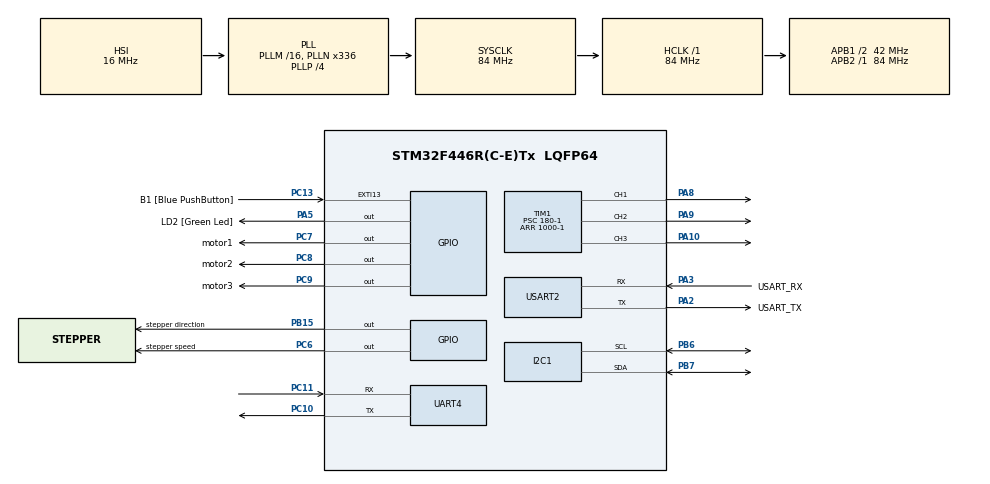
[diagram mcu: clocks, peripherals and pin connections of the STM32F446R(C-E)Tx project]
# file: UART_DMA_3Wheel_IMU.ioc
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Dma.Request0=UART4_RX
Dma.UART4_RX.0.Direction=DMA_PERIPH_TO_MEMORY
Dma.UART4_RX.0.FIFOMode=DMA_FIFOMODE_DISABLE
Dma.UART4_RX.0.Instance=DMA1_Stream2
Dma.UART4_RX.0.MemDataAlignment=DMA_MDATAALIGN_BYTE
Dma.UART4_RX.0.MemInc=DMA_MINC_ENABLE
Dma.UART4_RX.0.Mode=DMA_CIRCULAR
Dma.UART4_RX.0.PeriphDataAlignment=DMA_PDATAALIGN_BYTE
Dma.UART4_RX.0.PeriphInc=DMA_PINC_DISABLE
Dma.UART4_RX.0.Priority=DMA_PRIORITY_LOW
I2C1.I2C_Mode=I2C_Fast
Mcu.Family=STM32F4
Mcu.Name=STM32F446R(C-E)Tx
Mcu.Package=LQFP64
NVIC.DMA1_Stream2_IRQn=true\:0\:0\:false\:false\:true\:false\:true\:true
NVIC.PriorityGroup=NVIC_PRIORITYGROUP_0
NVIC.UART4_IRQn=true\:0\:0\:false\:false\:true\:true\:true\:true
PA10.Signal=S_TIM1_CH3
PA13.GPIO_Label=TMS
PA13.Mode=Serial_Wire
PA13.Signal=SYS_JTMS-SWDIO
PA14.GPIO_Label=TCK
PA14.Mode=Serial_Wire
PA14.Signal=SYS_JTCK-SWCLK
PA2.GPIO_Label=USART_TX
PA2.Mode=Asynchronous
PA2.Signal=USART2_TX
PA3.GPIO_Label=USART_RX
PA3.Mode=Asynchronous
PA3.Signal=USART2_RX
PA5.GPIO_Label=LD2 [Green Led]
PA5.Signal=GPIO_Output
PA8.Signal=S_TIM1_CH1
PA9.Signal=S_TIM1_CH2
PB15.GPIO_Label=stepper direction
PB15.Signal=GPIO_Output
PB6.Mode=I2C
PB6.Signal=I2C1_SCL
PB7.Mode=I2C
PB7.Signal=I2C1_SDA
PC10.Mode=Asynchronous
PC10.Signal=UART4_TX
PC11.Mode=Asynchronous
PC11.Signal=UART4_RX
PC13.GPIO_Label=B1 [Blue PushButton]
PC13.GPIO_ModeDefaultEXTI=GPIO_MODE_IT_FALLING
PC13.Signal=GPXTI13
PC14-OSC32_IN.Mode=LSE-External-Oscillator
PC14-OSC32_IN.Signal=RCC_OSC32_IN
PC15-OSC32_OUT.Mode=LSE-External-Oscillator
PC15-OSC32_OUT.Signal=RCC_OSC32_OUT
PC6.GPIO_Label=stepper speed
PC6.Signal=GPIO_Output
PC7.GPIO_Label=motor1
PC7.Signal=GPIO_Output
PC8.GPIO_Label=motor2
PC8.Signal=GPIO_Output
PC9.GPIO_Label=motor3
PC9.Signal=GPIO_Output
PH0-OSC_IN.Mode=HSE-External-Oscillator
PH0-OSC_IN.Signal=RCC_OSC_IN
PH1-OSC_OUT.Mode=HSE-External-Oscillator
PH1-OSC_OUT.Signal=RCC_OSC_OUT
ProjectManager.HeapSize=0x200
ProjectManager.StackSize=0x400
ProjectManager.TargetToolchain=STM32CubeIDE
RCC.48MHZClocksFreq_Value=84000000
RCC.AHBFreq_Value=84000000
RCC.APB1CLKDivider=RCC_HCLK_DIV2
RCC.APB1Freq_Value=42000000
RCC.APB1TimFreq_Value=84000000
RCC.APB2Freq_Value=84000000
RCC.APB2TimFreq_Value=84000000
RCC.CortexFreq_Value=84000000
RCC.FLatency-AdvancedSettings=FLASH_LATENCY_2
RCC.HCLKFreq_Value=84000000
RCC.HSE_VALUE=8000000
RCC.HSI_VALUE=16000000
RCC.PLLN=336
RCC.PLLP=RCC_PLLP_DIV4
RCC.SYSCLKFreq_VALUE=84000000
RCC.SYSCLKSource=RCC_SYSCLKSOURCE_PLLCLK
RCC.USBFreq_Value=168000000
RCC.VCOOutputFreq_Value=336000000
SH.S_TIM1_CH1.0=TIM1_CH1,PWM Generation1 CH1
SH.S_TIM1_CH2.0=TIM1_CH2,PWM Generation2 CH2
SH.S_TIM1_CH3.0=TIM1_CH3,PWM Generation3 CH3
TIM1.Channel-PWM\ Generation1\ CH1=TIM_CHANNEL_1
TIM1.Channel-PWM\ Generation2\ CH2=TIM_CHANNEL_2
TIM1.Channel-PWM\ Generation3\ CH3=TIM_CHANNEL_3
TIM1.Period=1000-1
TIM1.Prescaler=180-1
TIM8.Channel-PWM\ Generation1\ CH1=TIM_CHANNEL_1
TIM8.Period=1000-1
TIM8.Prescaler=180-1
UART4.VirtualMode=Asynchronous
USART2.VirtualMode=VM_ASYNC
VP_TIM1_VS_ClockSourceINT.Mode=Internal
VP_TIM8_VS_ClockSourceINT.Mode=Internal
board=NUCLEO-F446RE

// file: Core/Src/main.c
/* USER CODE BEGIN Header */
/**
  ******************************************************************************
  * @file           : main.c
  * @brief          : Main program body
  ******************************************************************************
  * @attention
  *
  * Copyright (c) 2025 STMicroelectronics.
  * All rights reserved.
  *
  * This software is licensed under terms that can be found in the LICENSE file
  * in the root directory of this software component.
  * If no LICENSE file comes with this software, it is provided AS-IS.
  *
  ******************************************************************************
  */
/* USER CODE END Header */
#include "main.h"

/* USER CODE BEGIN Includes */
#include "BNO055.h"
#include "stdio.h"
#include<stdio.h>
#include<inttypes.h>
#include<Math.h>
#include <stdbool.h>
#include <stdlib.h>

#include "math.h"
#define pi 3.1415926535
/* USER CODE END Includes */

I2C_HandleTypeDef hi2c1;

TIM_HandleTypeDef htim1;
TIM_HandleTypeDef htim8;

UART_HandleTypeDef huart4;
UART_HandleTypeDef huart2;
DMA_HandleTypeDef hdma_uart4_rx;

/* USER CODE BEGIN PV */
static uint32_t last_step_time1 = 0;
static int step_state1 = 0;
static int direction1 = 1;
int step_delay = 5;
int step_delay1 = 1;
static int stepper_running1 = 0;  // Toggle flag
static int prev_squ = 0;
static int prev_ll1 = 0;
static int prev_rr1 = 0;
BNO055_Data_t imu_data;

float yaw,q0,q1,q2,q3;
/* USER CODE END PV */

void SystemClock_Config(void);
static void MX_GPIO_Init(void);
static void MX_DMA_Init(void);
static void MX_USART2_UART_Init(void);
static void MX_UART4_Init(void);
static void MX_TIM1_Init(void);
static void MX_TIM8_Init(void);
static void MX_I2C1_Init(void);

/* USER CODE BEGIN 0 */
uint8_t rxbuff[16];
int slow = 75;
int fast = 400;
int Buff1 = 60;
int Buff2 = -60;
int BuffP = 80;
int BuffN = -80;
int target_wf, target_wrr, target_wrl, w;
int32_t lx, ly, rx, ry, cro, squ, tri, cir, up, down, left, right, ll1, rr1,
		ll2, rr2, rL, rR;
int deadzone = 50;
int l0 = 310;

void HAL_UART_RxCpltCallback(UART_HandleTypeDef *huart) {
	HAL_UART_Receive_DMA(&huart4, rxbuff, 16);
}
int constrain(int value, int min_val, int max_val) {
	if (value < min_val)
		return min_val;
	if (value > max_val)
		return max_val;
	return value;
}
void compute3wheel() {
	// Calculate joystick-based velocities
	const double theta = -30 * pi / 180;
	double lx_rotated = lx * cos(theta) - ly * sin(theta);
	double ly_rotated = lx * sin(theta) + ly * cos(theta);
	double vx = ly_rotated;
	double vy = lx_rotated;
	w = rx;
	target_wf = ((-0.5 * vx) + (sqrt(3) / 2) * vy + l0 * w);
	target_wrr = ((-0.5 * vx) - (sqrt(3) / 2) * vy + l0 * w);
	target_wrl = (vx + l0 * w);

	// Constrain target wheel speeds
	target_wf = constrain(target_wf, -800, 800);
	target_wrr = constrain(target_wrr, -800, 800);
	target_wrl = constrain(target_wrl, -800, 800);
}
void Channel_A_Config(void)
{
  uint32_t *pAHB1ClkCtrlReg =   (uint32_t*)0x40023830; // address of AHB1 clock control register
  uint32_t *pAFRLPortAReg   =   (uint32_t*)0x40020024; // address of alternate function register of port A
  uint32_t *pPortAModeReg   =   (uint32_t*)0x40020000; // address of port A mode register
  uint32_t *pPortAPullUpReg =   (uint32_t*)0x4002000C; // address of port A pull up register

  *pAHB1ClkCtrlReg |= 0x1;        // port A clock enable
  *pAFRLPortAReg   |= 0x00010000; // alternate function of Timer 2 Channel 1 enabled
  *pPortAModeReg   &= 0x3FFFFFFF;
  *pPortAModeReg   |= 0x80000000; // port A Pin 15 configured for 'Alternate function'
  *pPortAPullUpReg |= 0x40000000;    // port A Pin 15 pulled up
}

void Channel_B_Config(void)
{
  uint32_t *pAHB1ClkCtrlReg =   (uint32_t*)0x40023830; // address of AHB1 clock control register
  uint32_t *pAFRLPortBReg   =   (uint32_t*)0x40020420; // address of alternate function register of port B
  uint32_t *pPortBModeReg   =   (uint32_t*)0x40020400; // address of port B mode register
  uint32_t *pPortBPullUpReg =   (uint32_t*)0x4002040C; // address of port B pull up register

  *pAHB1ClkCtrlReg |= 0x2;        // port B clock enable
  *pAFRLPortBReg   |= 0x00100000; // alternate function of Timer 2 Channel 2 enabled
  *pPortBModeReg   &= 0xFFFFFF3F;
  *pPortBModeReg   |= 0x00000080; // port B Pin 3 configured for 'Alternate function'
  *pPortBPullUpReg |= 0x0040;     // port B Pin 3 pulled up
}

void Encoder_Init(uint16_t ARR_Value)
{
	 uint32_t *pAPB1ClkCtrlReg =   (uint32_t*)0x40023840; // address of APB2 clock control register
	 uint32_t *pTimer2ArrReg   =   (uint32_t*)0x4000002C; // address of timer 2 auto reload register
	 uint32_t *pTimer2CCMR1Reg =   (uint32_t*)0x40000018; // address of timer 2 capture/compare register
	 uint32_t *pTimer2CcerReg  =   (uint32_t*)0x40000020; // address of timer 2 capture/compare enable register
     uint32_t *pTimer2SmcrReg  =   (uint32_t*)0x40000008; // address of timer 2 slave mode control register
     uint32_t *pTimer2CR1Reg   =   (uint32_t*)0x40000000; // address of timer 2 control register 1

    *pAPB1ClkCtrlReg |= 0x1;           //timer 2 clock enable
    *pTimer2ArrReg   =  ARR_Value - 1; // maximum count value for counter
    *pTimer2CCMR1Reg |= 0x1;   // mapping 'Input capture 1' mode in timer 2 Channel 1 and configuring it as input
    *pTimer2CCMR1Reg |= 0x100; // mapping 'Input capture 2' mode in timer 2 Channel 2 and configuring it as input
    *pTimer2CcerReg  |= 0x2;   // channel 1 triggered at rising edge
    *pTimer2CcerReg  |= 0x20;  // channel 2 triggered at rising edge
    *pTimer2SmcrReg  |= 0x3;   // counter counts up/down on both channel 1 and channel 2 edges depending on the level of the other input.
    *pTimer2CR1Reg   |= 0x1;   // counter enable
}
uint16_t Get_Encoder_Counts()
{
	 uint32_t *pTimer2CNTReg   =   (uint32_t*)0x40000024; // address of timer 2 counter register
	 return *pTimer2CNTReg; // reading counts from counter register

}
/* USER CODE END 0 */

int main(void)
{

  /* USER CODE BEGIN 1 */
	HAL_UART_Receive_DMA(&huart4, rxbuff, 16);
	Encoder_Init(65535);
  /* USER CODE END 1 */

  /* MCU Configuration--------------------------------------------------------*/

  /* Reset of all peripherals, Initializes the Flash interface and the Systick. */
  HAL_Init();

  /* Configure the system clock */
  SystemClock_Config();

  /* Initialize all configured peripherals */
  MX_GPIO_Init();
  MX_DMA_Init();
  MX_USART2_UART_Init();
  MX_UART4_Init();
  MX_TIM1_Init();
  MX_TIM8_Init();
  MX_I2C1_Init();
  /* USER CODE BEGIN 2 */
  HAL_UART_Receive_DMA(&huart4, rxbuff, 16);
  /* USER CODE END 2 */

  /* Infinite loop */
  while (1)
  {

    /* USER CODE BEGIN 3 */
  lx = (rxbuff[0] & 0x80) ?
  				(int32_t) rxbuff[0] - 256 : (int32_t) rxbuff[0];
  		ly = (rxbuff[1] & 0x80) ?
  				(int32_t) rxbuff[1] - 256 : (int32_t) rxbuff[1];
  		rx = (rxbuff[2] & 0x80) ?
  				(int32_t) rxbuff[2] - 256 : (int32_t) rxbuff[2];
  		ry = (rxbuff[3] & 0x80) ?
  				(int32_t) rxbuff[3] - 256 : (int32_t) rxbuff[3];
  		cro = (rxbuff[4] & 0x80) ?
  				(int32_t) rxbuff[4] - 256 : (int32_t) rxbuff[4];
  		squ = (rxbuff[5] & 0x80) ?
  				(int32_t) rxbuff[5] - 256 : (int32_t) rxbuff[5];
  		tri = (rxbuff[6] & 0x80) ?
  				(int32_t) rxbuff[6] - 256 : (int32_t) rxbuff[6];
  		cir = (rxbuff[7] & 0x80) ?
  				(int32_t) rxbuff[7] - 256 : (int32_t) rxbuff[7];
  		up = (rxbuff[8] & 0x80) ?
  				(int32_t) rxbuff[8] - 256 : (int32_t) rxbuff[8];
  		down = (rxbuff[9] & 0x80) ?
  				(int32_t) rxbuff[9] - 256 : (int32_t) rxbuff[9];
  		left = (rxbuff[10] & 0x80) ?
  				(int32_t) rxbuff[10] - 256 : (int32_t) rxbuff[10];
  		right = (rxbuff[11] & 0x80) ?
  				(int32_t) rxbuff[11] - 256 : (int32_t) rxbuff[11];
  		ll1 = (rxbuff[12] & 0x80) ?
  				(int32_t) rxbuff[12] - 256 : (int32_t) rxbuff[12];
  		ll2 = (rxbuff[13] & 0x80) ?
  				(int32_t) rxbuff[13] - 256 : (int32_t) rxbuff[13];
  		rr1 = (rxbuff[14] & 0x80) ?
  				(int32_t) rxbuff[14] - 256 : (int32_t) rxbuff[14];
  		rr2 = (rxbuff[15] & 0x80) ?
  				(int32_t) rxbuff[15] - 256 : (int32_t) rxbuff[15];
  //			  	  	  	  	  	  	  lx = (rxbuff[1] & 0x80) ? (int32_t)rxbuff[1] - 256 : (int32_t)rxbuff[1];
  //			  		  	  	 	 	   ly = (rxbuff[2] & 0x80) ? (int32_t)rxbuff[2] - 256 : (int32_t)rxbuff[2];
  //			  		  	  	 	 	   rx = (rxbuff[3] & 0x80) ? (int32_t)rxbuff[3] - 256 : (int32_t)rxbuff[3];
  //			  		  	  	 	 	   ry = (rxbuff[4] & 0x80) ? (int32_t)rxbuff[4] - 256 : (int32_t)rxbuff[4];
  //			  		  	  	 	 	   cro= (rxbuff[5] & 0x80) ? (int32_t)rxbuff[5] - 256 : (int32_t)rxbuff[5];
  //			  		  	  	 	 	   squ= (rxbuff[6] & 0x80) ? (int32_t)rxbuff[6] - 256 : (int32_t)rxbuff[6];
  //			  		  	  	 	 	   tri= (rxbuff[7] & 0x80) ? (int32_t)rxbuff[7] - 256 : (int32_t)rxbuff[7];
  //			  		  	  	 	 	   cir= (rxbuff[8] & 0x80) ? (int32_t)rxbuff[8] - 256 : (int32_t)rxbuff[8];
  //			  		  	  	 	 	   up= (rxbuff[8] & 0x80) ? (int32_t)rxbuff[9] - 256 : (int32_t)rxbuff[9];
  //			  		  	  	 	 	   down= (rxbuff[10] & 0x80) ? (int32_t)rxbuff[10] - 256 : (int32_t)rxbuff[10];
  //			  		  	  	 	 	   left= (rxbuff[11] & 0x80) ? (int32_t)rxbuff[11] - 256 : (int32_t)rxbuff[11];
  //			  		  	  	 	 	   right=(rxbuff[12] & 0x80) ? (int32_t)rxbuff[12] - 256 : (int32_t)rxbuff[12];
  //			  		  	  	 	 	   ll1= (rxbuff[13] & 0x80) ? (int32_t)rxbuff[13] - 256 : (int32_t)rxbuff[13];
  //			  		  	  	 	 	   ll2= (rxbuff[14] & 0x80) ? (int32_t)rxbuff[14] - 256 : (int32_t)rxbuff[14];
  //			  		  	  	 	 	   rr1= (rxbuff[15] & 0x80) ? (int32_t)rxbuff[15] - 256 : (int32_t)rxbuff[15];
  //			  		  	  	 	 	   rr2= (rxbuff[16] & 0x80) ? (int32_t)rxbuff[16] - 256 : (int32_t)rxbuff[16];
  		if (abs(lx) < deadzone)
  			lx = 0;
  		if (abs(ly) < deadzone)
  			ly = 0;
  		if (abs(rx) < deadzone)
  			rx = 0;
  		else
  			rx = (rx > 0) ? rx - deadzone : rx + deadzone;
  		if (abs(ry) < deadzone)
  			ry = 0;
  		lx = (lx * 950) / 127;  // Assuming joystick range is -127 to +127
  		ly = (ly * 950) / 127;
  		rx = (rx * 950) / 127;
  		rL = sqrt(lx * lx + ly * ly);
  		rR = sqrt(rx * rx + ry * ry);
  				printf("Received Integers: %ld %ld %ld %ld %ld %ld %ld %ld %ld %ld\r\n",
  						lx, ly, rx, ry, cro, squ, tri, cir, ll1, rr1);
  				  printf("Received Integers: %ld %ld %ld %ld %ld %ld %ld %ld\r\n", lx, ly, rx, ry, cro, squ, tri, cir);
  		uint16_t counter = Get_Encoder_Counts();
  		printf("Encoder 1 : %u\r\n",counter);
  		compute3wheel();
  		if (target_wf >= 0) {
  			TIM1->CCR1 = target_wf;
  			HAL_TIM_PWM_Start(&htim1, TIM_CHANNEL_1);
  			HAL_GPIO_WritePin(GPIOC, GPIO_PIN_7, 0);
  		} else {
  			TIM1->CCR1 = -target_wf;
  			HAL_TIM_PWM_Start(&htim1, TIM_CHANNEL_1);
  			HAL_GPIO_WritePin(GPIOC, GPIO_PIN_7, 1);
  		}
  		if (target_wrr >= 0) {
  			TIM1->CCR2 = target_wrr;
  			HAL_TIM_PWM_Start(&htim1, TIM_CHANNEL_2);
  			HAL_GPIO_WritePin(GPIOC, GPIO_PIN_8, 0);
  		} else {
  			TIM1->CCR2 = -target_wrr;
  			HAL_TIM_PWM_Start(&htim1, TIM_CHANNEL_2);
  			HAL_GPIO_WritePin(GPIOC, GPIO_PIN_8, 1);
  		}
  		if (target_wrl >= 0) {
  			TIM1->CCR3 = target_wrl;
  			HAL_TIM_PWM_Start(&htim1, TIM_CHANNEL_3);
  			HAL_GPIO_WritePin(GPIOC, GPIO_PIN_9, 0);
  		} else {
  			TIM1->CCR3 = -target_wrl;
  			HAL_TIM_PWM_Start(&htim1, TIM_CHANNEL_3);
  			HAL_GPIO_WritePin(GPIOC, GPIO_PIN_9, 1);
  		}
  		HAL_GPIO_WritePin(GPIOB, GPIO_PIN_15,
  				direction1 ? GPIO_PIN_SET : GPIO_PIN_RESET);

  		if (ll1 == 1 && !prev_ll1) {  // LL1 button pressed
  			direction1 = 1;  // Set to Anti-clockwise
  			stepper_running1 = 1;
  		}
  		if (rr1 == 1 && !prev_rr1) {  // RR1 button pressed
  			direction1 = 0;  // Set to Clockwise
  			stepper_running1 = 1;
  		}
  		if (cir == 1 && !prev_squ) {
  			stepper_running1 = 0;
  		}
  		prev_ll1 = ll1;
  		prev_rr1 = rr1;
  		prev_squ = cir;
  		if (stepper_running1 && (HAL_GetTick() - last_step_time1) >= step_delay1) {
  			last_step_time1 = HAL_GetTick(); // Update last step time

  			if (step_state1 == 0) {
  				HAL_GPIO_WritePin(GPIOC, GPIO_PIN_6, GPIO_PIN_SET); // Step HIGH
  				step_state1 = 1;
  			} else {
  				HAL_GPIO_WritePin(GPIOC, GPIO_PIN_6, GPIO_PIN_RESET); // Step LOW
  				step_state1 = 0;
  			}
  		}
  		if (BNO055_GetAllData(&hi2c1, &imu_data) == HAL_OK) {
  			  	  		  // Print accelerometer data (m/s^2)
  			  	  //		  printf("Accel: X=%.2f, Y=%.2f, Z=%.2f m/s^2\n",
  			  	  //				 imu_data.accel_x, imu_data.accel_y, imu_data.accel_z);

  			  	  		  // Print gyroscope data (degrees/s)
  			  	  //		  printf("Gyro: X=%.2f, Y=%.2f, Z=%.2f deg/s\n",
  			  	  //				 imu_data.gyro_x, imu_data.gyro_y, imu_data.gyro_z);
  			  	  //		  printf("\n\n");
  			  	  		  // Print orientation data
  				  	q0=imu_data.quat_w;
  				    q1=imu_data.quat_x;
  				    q2=imu_data.quat_y;
  				    q3=imu_data.quat_z;
  				    yaw=-(atan2(2*(q0*q3+q1*q2),1-2*(q2*q2+q3*q3))-pi/2);
  				    yaw = yaw * (180.0 / pi);
  			  	  		  printf("Euler: Yaw=%.2f\n\r",yaw);
  			  	  		  printf("\n\n");
  			  	  	  }

  			  	  	  HAL_Delay(100); // Read at 10Hz
  			    }
  }
  /* USER CODE END 3 */

void SystemClock_Config(void)
{
  RCC_OscInitTypeDef RCC_OscInitStruct = {0};
  RCC_ClkInitTypeDef RCC_ClkInitStruct = {0};

  /** Configure the main internal regulator output voltage
  */
  __HAL_RCC_PWR_CLK_ENABLE();
  __HAL_PWR_VOLTAGESCALING_CONFIG(PWR_REGULATOR_VOLTAGE_SCALE3);

  /** Initializes the RCC Oscillators according to the specified parameters
  * in the RCC_OscInitTypeDef structure.
  */
  RCC_OscInitStruct.OscillatorType = RCC_OSCILLATORTYPE_HSI;
  RCC_OscInitStruct.HSIState = RCC_HSI_ON;
  RCC_OscInitStruct.HSICalibrationValue = RCC_HSICALIBRATION_DEFAULT;
  RCC_OscInitStruct.PLL.PLLState = RCC_PLL_ON;
  RCC_OscInitStruct.PLL.PLLSource = RCC_PLLSOURCE_HSI;
  RCC_OscInitStruct.PLL.PLLM = 16;
  RCC_OscInitStruct.PLL.PLLN = 336;
  RCC_OscInitStruct.PLL.PLLP = RCC_PLLP_DIV4;
  RCC_OscInitStruct.PLL.PLLQ = 2;
  RCC_OscInitStruct.PLL.PLLR = 2;
  if (HAL_RCC_OscConfig(&RCC_OscInitStruct) != HAL_OK)
  {
    Error_Handler();
  }

  /** Initializes the CPU, AHB and APB buses clocks
  */
  RCC_ClkInitStruct.ClockType = RCC_CLOCKTYPE_HCLK|RCC_CLOCKTYPE_SYSCLK
                              |RCC_CLOCKTYPE_PCLK1|RCC_CLOCKTYPE_PCLK2;
  RCC_ClkInitStruct.SYSCLKSource = RCC_SYSCLKSOURCE_PLLCLK;
  RCC_ClkInitStruct.AHBCLKDivider = RCC_SYSCLK_DIV1;
  RCC_ClkInitStruct.APB1CLKDivider = RCC_HCLK_DIV2;
  RCC_ClkInitStruct.APB2CLKDivider = RCC_HCLK_DIV1;

  if (HAL_RCC_ClockConfig(&RCC_ClkInitStruct, FLASH_LATENCY_2) != HAL_OK)
  {
    Error_Handler();
  }
}

static void MX_I2C1_Init(void)
{

  hi2c1.Instance = I2C1;
  hi2c1.Init.ClockSpeed = 400000;
  hi2c1.Init.DutyCycle = I2C_DUTYCYCLE_2;
  hi2c1.Init.OwnAddress1 = 0;
  hi2c1.Init.AddressingMode = I2C_ADDRESSINGMODE_7BIT;
  hi2c1.Init.DualAddressMode = I2C_DUALADDRESS_DISABLE;
  hi2c1.Init.OwnAddress2 = 0;
  hi2c1.Init.GeneralCallMode = I2C_GENERALCALL_DISABLE;
  hi2c1.Init.NoStretchMode = I2C_NOSTRETCH_DISABLE;
  if (HAL_I2C_Init(&hi2c1) != HAL_OK)
  {
    Error_Handler();
  }

}

static void MX_TIM1_Init(void)
{

  TIM_ClockConfigTypeDef sClockSourceConfig = {0};
  TIM_MasterConfigTypeDef sMasterConfig = {0};
  TIM_OC_InitTypeDef sConfigOC = {0};
  TIM_BreakDeadTimeConfigTypeDef sBreakDeadTimeConfig = {0};

  htim1.Instance = TIM1;
  htim1.Init.Prescaler = 180-1;
  htim1.Init.CounterMode = TIM_COUNTERMODE_UP;
  htim1.Init.Period = 1000-1;
  htim1.Init.ClockDivision = TIM_CLOCKDIVISION_DIV1;
  htim1.Init.RepetitionCounter = 0;
  htim1.Init.AutoReloadPreload = TIM_AUTORELOAD_PRELOAD_DISABLE;
  if (HAL_TIM_Base_Init(&htim1) != HAL_OK)
  {
    Error_Handler();
  }
  sClockSourceConfig.ClockSource = TIM_CLOCKSOURCE_INTERNAL;
  if (HAL_TIM_ConfigClockSource(&htim1, &sClockSourceConfig) != HAL_OK)
  {
    Error_Handler();
  }
  if (HAL_TIM_PWM_Init(&htim1) != HAL_OK)
  {
    Error_Handler();
  }
  sMasterConfig.MasterOutputTrigger = TIM_TRGO_RESET;
  sMasterConfig.MasterSlaveMode = TIM_MASTERSLAVEMODE_DISABLE;
  if (HAL_TIMEx_MasterConfigSynchronization(&htim1, &sMasterConfig) != HAL_OK)
  {
    Error_Handler();
  }
  sConfigOC.OCMode = TIM_OCMODE_PWM1;
  sConfigOC.Pulse = 0;
  sConfigOC.OCPolarity = TIM_OCPOLARITY_HIGH;
  sConfigOC.OCNPolarity = TIM_OCNPOLARITY_HIGH;
  sConfigOC.OCFastMode = TIM_OCFAST_DISABLE;
  sConfigOC.OCIdleState = TIM_OCIDLESTATE_RESET;
  sConfigOC.OCNIdleState = TIM_OCNIDLESTATE_RESET;
  if (HAL_TIM_PWM_ConfigChannel(&htim1, &sConfigOC, TIM_CHANNEL_1) != HAL_OK)
  {
    Error_Handler();
  }
  if (HAL_TIM_PWM_ConfigChannel(&htim1, &sConfigOC, TIM_CHANNEL_2) != HAL_OK)
  {
    Error_Handler();
  }
  if (HAL_TIM_PWM_ConfigChannel(&htim1, &sConfigOC, TIM_CHANNEL_3) != HAL_OK)
  {
    Error_Handler();
  }
  sBreakDeadTimeConfig.OffStateRunMode = TIM_OSSR_DISABLE;
  sBreakDeadTimeConfig.OffStateIDLEMode = TIM_OSSI_DISABLE;
  sBreakDeadTimeConfig.LockLevel = TIM_LOCKLEVEL_OFF;
  sBreakDeadTimeConfig.DeadTime = 0;
  sBreakDeadTimeConfig.BreakState = TIM_BREAK_DISABLE;
  sBreakDeadTimeConfig.BreakPolarity = TIM_BREAKPOLARITY_HIGH;
  sBreakDeadTimeConfig.AutomaticOutput = TIM_AUTOMATICOUTPUT_DISABLE;
  if (HAL_TIMEx_ConfigBreakDeadTime(&htim1, &sBreakDeadTimeConfig) != HAL_OK)
  {
    Error_Handler();
  }
  HAL_TIM_MspPostInit(&htim1);

}

static void MX_TIM8_Init(void)
{

  TIM_ClockConfigTypeDef sClockSourceConfig = {0};
  TIM_MasterConfigTypeDef sMasterConfig = {0};

  htim8.Instance = TIM8;
  htim8.Init.Prescaler = 180-1;
  htim8.Init.CounterMode = TIM_COUNTERMODE_UP;
  htim8.Init.Period = 1000-1;
  htim8.Init.ClockDivision = TIM_CLOCKDIVISION_DIV1;
  htim8.Init.RepetitionCounter = 0;
  htim8.Init.AutoReloadPreload = TIM_AUTORELOAD_PRELOAD_DISABLE;
  if (HAL_TIM_Base_Init(&htim8) != HAL_OK)
  {
    Error_Handler();
  }
  sClockSourceConfig.ClockSource = TIM_CLOCKSOURCE_INTERNAL;
  if (HAL_TIM_ConfigClockSource(&htim8, &sClockSourceConfig) != HAL_OK)
  {
    Error_Handler();
  }
  sMasterConfig.MasterOutputTrigger = TIM_TRGO_RESET;
  sMasterConfig.MasterSlaveMode = TIM_MASTERSLAVEMODE_DISABLE;
  if (HAL_TIMEx_MasterConfigSynchronization(&htim8, &sMasterConfig) != HAL_OK)
  {
    Error_Handler();
  }

}

static void MX_UART4_Init(void)
{

  huart4.Instance = UART4;
  huart4.Init.BaudRate = 115200;
  huart4.Init.WordLength = UART_WORDLENGTH_8B;
  huart4.Init.StopBits = UART_STOPBITS_1;
  huart4.Init.Parity = UART_PARITY_NONE;
  huart4.Init.Mode = UART_MODE_TX_RX;
  huart4.Init.HwFlowCtl = UART_HWCONTROL_NONE;
  huart4.Init.OverSampling = UART_OVERSAMPLING_16;
  if (HAL_UART_Init(&huart4) != HAL_OK)
  {
    Error_Handler();
  }

}

static void MX_USART2_UART_Init(void)
{

  huart2.Instance = USART2;
  huart2.Init.BaudRate = 115200;
  huart2.Init.WordLength = UART_WORDLENGTH_8B;
  huart2.Init.StopBits = UART_STOPBITS_1;
  huart2.Init.Parity = UART_PARITY_NONE;
  huart2.Init.Mode = UART_MODE_TX_RX;
  huart2.Init.HwFlowCtl = UART_HWCONTROL_NONE;
  huart2.Init.OverSampling = UART_OVERSAMPLING_16;
  if (HAL_UART_Init(&huart2) != HAL_OK)
  {
    Error_Handler();
  }

}

static void MX_DMA_Init(void)
{

  /* DMA controller clock enable */
  __HAL_RCC_DMA1_CLK_ENABLE();

  /* DMA interrupt init */
  /* DMA1_Stream2_IRQn interrupt configuration */
  HAL_NVIC_SetPriority(DMA1_Stream2_IRQn, 0, 0);
  HAL_NVIC_EnableIRQ(DMA1_Stream2_IRQn);

}

static void MX_GPIO_Init(void)
{
  GPIO_InitTypeDef GPIO_InitStruct = {0};

  /* GPIO Ports Clock Enable */
  __HAL_RCC_GPIOC_CLK_ENABLE();
  __HAL_RCC_GPIOH_CLK_ENABLE();
  __HAL_RCC_GPIOA_CLK_ENABLE();
  __HAL_RCC_GPIOB_CLK_ENABLE();

  /*Configure GPIO pin Output Level */
  HAL_GPIO_WritePin(LD2_GPIO_Port, LD2_Pin, GPIO_PIN_RESET);

  /*Configure GPIO pin Output Level */
  HAL_GPIO_WritePin(stepper_direction_GPIO_Port, stepper_direction_Pin, GPIO_PIN_RESET);

  /*Configure GPIO pin Output Level */
  HAL_GPIO_WritePin(GPIOC, stepper_speed_Pin|motor1_Pin|motor2_Pin|motor3_Pin, GPIO_PIN_RESET);

  /*Configure GPIO pin : B1_Pin */
  GPIO_InitStruct.Pin = B1_Pin;
  GPIO_InitStruct.Mode = GPIO_MODE_IT_FALLING;
  GPIO_InitStruct.Pull = GPIO_NOPULL;
  HAL_GPIO_Init(B1_GPIO_Port, &GPIO_InitStruct);

  /*Configure GPIO pin : LD2_Pin */
  GPIO_InitStruct.Pin = LD2_Pin;
  GPIO_InitStruct.Mode = GPIO_MODE_OUTPUT_PP;
  GPIO_InitStruct.Pull = GPIO_NOPULL;
  GPIO_InitStruct.Speed = GPIO_SPEED_FREQ_LOW;
  HAL_GPIO_Init(LD2_GPIO_Port, &GPIO_InitStruct);

  /*Configure GPIO pin : stepper_direction_Pin */
  GPIO_InitStruct.Pin = stepper_direction_Pin;
  GPIO_InitStruct.Mode = GPIO_MODE_OUTPUT_PP;
  GPIO_InitStruct.Pull = GPIO_NOPULL;
  GPIO_InitStruct.Speed = GPIO_SPEED_FREQ_LOW;
  HAL_GPIO_Init(stepper_direction_GPIO_Port, &GPIO_InitStruct);

  /*Configure GPIO pins : stepper_speed_Pin motor1_Pin motor2_Pin motor3_Pin */
  GPIO_InitStruct.Pin = stepper_speed_Pin|motor1_Pin|motor2_Pin|motor3_Pin;
  GPIO_InitStruct.Mode = GPIO_MODE_OUTPUT_PP;
  GPIO_InitStruct.Pull = GPIO_NOPULL;
  GPIO_InitStruct.Speed = GPIO_SPEED_FREQ_LOW;
  HAL_GPIO_Init(GPIOC, &GPIO_InitStruct);

}

/* USER CODE BEGIN 4 */
int _write(int file, char *ptr, int len) {
	HAL_UART_Transmit(&huart2, (uint8_t*) ptr, len, HAL_MAX_DELAY);
	return len;
}

/* USER CODE END 4 */

void Error_Handler(void)
{
  __disable_irq();
  while (1)
  {
  }
}
